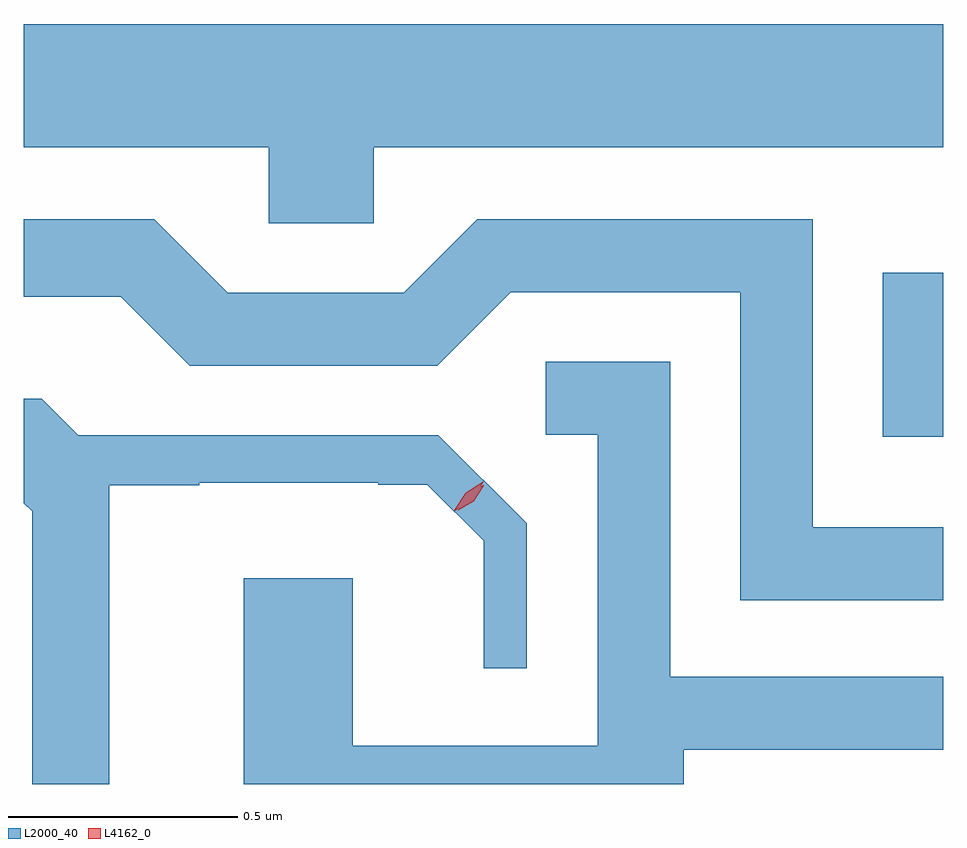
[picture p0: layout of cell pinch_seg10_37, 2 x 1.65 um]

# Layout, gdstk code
import gdstk
lib = gdstk.Library(unit=1e-6, precision=1e-09)
def R(c, l, rs):  # rectangles x0, y0, x1, y1
    for r in rs: c.add(gdstk.rectangle(r[:2], r[2:], *l))
def P(c, l, *ps):  # polygons
    for p in ps: c.add(gdstk.Polygon(p, *l))
L2000_40 = (2000, 40)
L4162_0 = (4162, 0)

pinch_seg10_37 = lib.new_cell('pinch_seg10_37')
R(pinch_seg10_37, L2000_40, [(594.211,2184.326,594.343,2184.683)])
P(pinch_seg10_37, L2000_40, [(593.104,2184.956),(594.343,2184.956),(594.343,2185.224),(592.343,2185.224),(592.343,2184.956),(592.876,2184.956),(592.876,2184.791),(593.104,2184.791)],
  [(594.343,2184.129),(594.059,2184.129),(594.059,2184.799),(593.329,2184.799),(593.169,2184.639),(592.787,2184.639),(592.627,2184.799),(592.343,2184.799),(592.343,2184.631),(592.554,2184.631),(592.704,2184.481),(593.242,2184.481),(593.402,2184.641),(593.901,2184.641),(593.901,2183.971),(594.343,2183.971)],
  [(593.779,2183.646),(594.343,2183.646),(594.343,2183.804),(593.749,2183.804),(593.749,2184.489),(593.478,2184.489),(593.478,2184.331),(593.591,2184.331),(593.591,2183.654),(593.059,2183.654),(593.059,2184.019),(592.821,2184.019),(592.821,2183.571),(593.779,2183.571)],
  [(592.529,2184.221),(592.725,2184.221),(592.725,2184.226),(593.114,2184.226),(593.114,2184.222),(593.221,2184.222),(593.343,2184.1),(593.343,2183.823),(593.437,2183.823),(593.437,2184.138),(593.245,2184.329),(592.462,2184.329),(592.382,2184.409),(592.343,2184.409),(592.343,2184.182),(592.361,2184.164),(592.361,2183.571),(592.529,2183.571)])
P(pinch_seg10_37, L4162_0, [(593.279,2184.165),(593.279,2184.166),(593.304,2184.204),(593.343,2184.23),(593.344,2184.23),(593.344,2184.229),(593.319,2184.19),(593.28,2184.165)],
  [(593.287,2184.166),(593.287,2184.166),(593.308,2184.2),(593.342,2184.221),(593.343,2184.221),(593.343,2184.22),(593.322,2184.186),(593.288,2184.166)])

lib.write_gds('pinch_seg10_37.gds')
